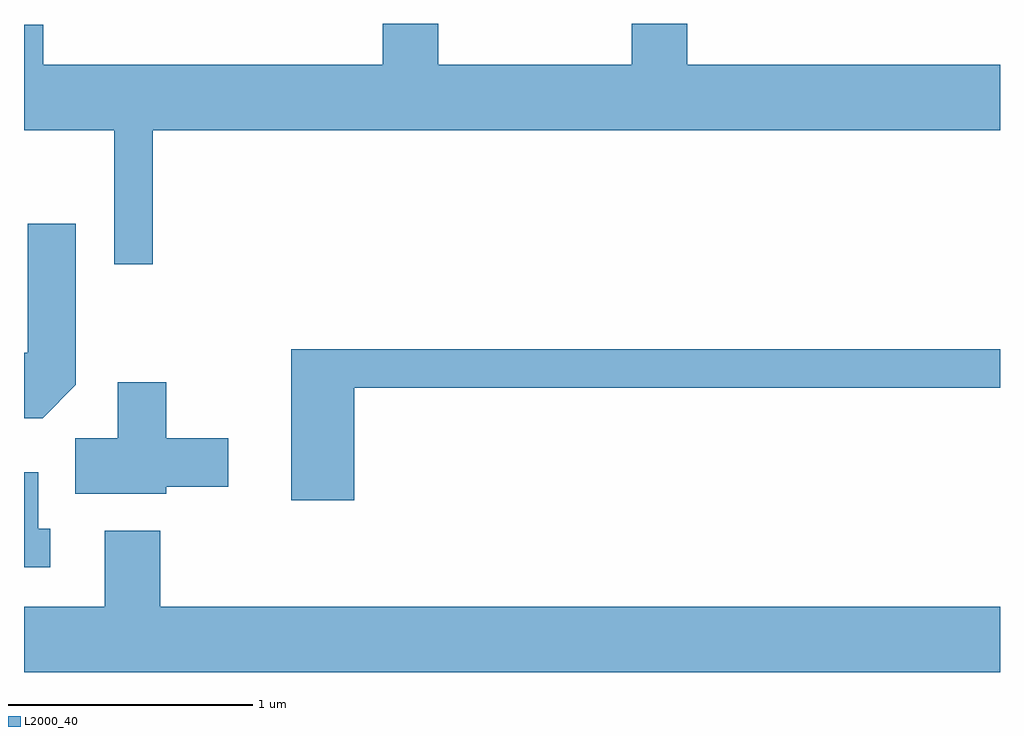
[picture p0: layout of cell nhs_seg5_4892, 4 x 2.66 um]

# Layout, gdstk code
import gdstk
lib = gdstk.Library(unit=1e-6, precision=1e-09)
def P(c, l, *ps):  # polygons
    for p in ps: c.add(gdstk.Polygon(p, *l))
L2000_40 = (2000, 40)

nhs_seg5_4892 = lib.new_cell('nhs_seg5_4892')
P(nhs_seg5_4892, L2000_40, [(330.139,1505.636),(333.611,1505.636),(333.611,1505.904),(332.329,1505.904),(332.329,1506.072),(332.101,1506.072),(332.101,1505.904),(331.309,1505.904),(331.309,1506.072),(331.081,1506.072),(331.081,1505.904),(329.689,1505.904),(329.689,1506.069),(329.611,1506.069),(329.611,1505.636),(329.981,1505.636),(329.981,1505.088),(330.139,1505.088)],
  [(329.824,1504.594),(329.824,1505.254),(329.626,1505.254),(329.626,1504.724),(329.611,1504.724),(329.611,1504.456),(329.687,1504.456)],
  [(330.964,1504.581),(333.611,1504.581),(333.611,1504.739),(330.706,1504.739),(330.706,1504.121),(330.964,1504.121)],
  [(330.194,1504.176),(330.449,1504.176),(330.449,1504.374),(330.194,1504.374),(330.194,1504.604),(329.996,1504.604),(329.996,1504.374),(329.821,1504.374),(329.821,1504.146),(330.194,1504.146)],
  [(329.718,1504.004),(329.669,1504.004),(329.669,1504.234),(329.611,1504.234),(329.611,1503.846),(329.718,1503.846)],
  [(333.611,1503.684),(330.169,1503.684),(330.169,1503.994),(329.941,1503.994),(329.941,1503.684),(329.611,1503.684),(329.611,1503.416),(333.611,1503.416)])

lib.write_gds('nhs_seg5_4892.gds')
